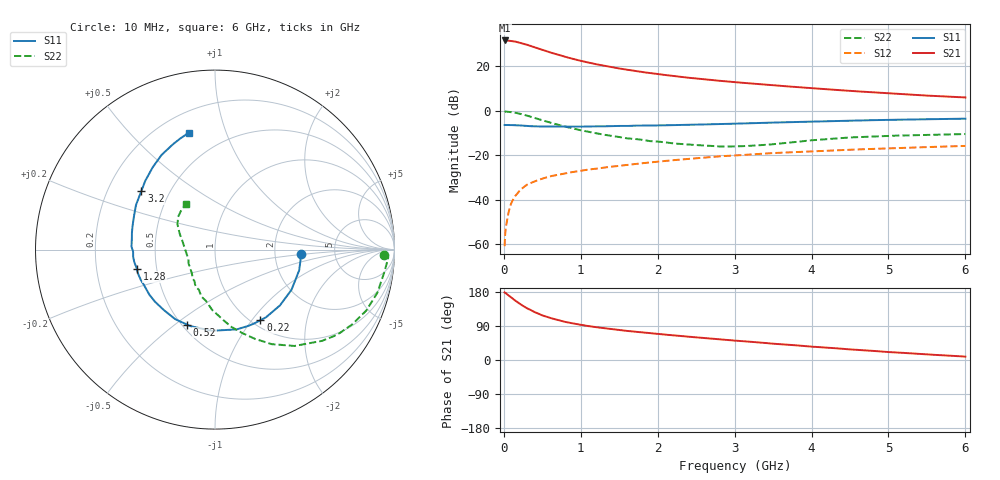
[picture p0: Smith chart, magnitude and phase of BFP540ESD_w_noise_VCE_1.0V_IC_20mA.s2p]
! Infineon Technologies  Discrete & RF Semiconductors
! BFP540ESD
! VCE =  1.0 V,  IC =  20 mA
! Common Emitter S-Parameters:  Nov 2015
# GHz  S  MA  R  50
!  f  S11  S21  S12  S22
! GHz  MAG  ANG  MAG  ANG  MAG  ANG  MAG  ANG
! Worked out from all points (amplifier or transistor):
!   210 points, 10 MHz to 6 GHz, reference 50 ohm
!   highest |S21| = 31.7 dB at 10 MHz (marker M1)
!   |S21| within 3 dB of that: start of sweep to 392.4 MHz
!   unconditionally stable (mu >= 1): start of sweep to 11.34 MHz; 2.088 GHz to end of sweep
!   at 185 MHz: K = 0.21, MSG = 33.8 dB, |S12| = -36.8 dB
!   at 1.52 GHz: K = 0.90, MSG = 21.8 dB, |S12| = -24.6 dB
!   at 6 GHz: K = 1.12, MAG = 8.8 dB, |S12| = -15.8 dB
!   lowest NFmin = 1.17 dB at 900 MHz
!   S11 on the Smith chart (normalised r, x): 10 MHz: 2.84, -0.17; 220 MHz: 1.10, -1.10; 520 MHz: 0.53, -0.55; 1.28 GHz: 0.39, -0.10; 3.2 GHz: 0.35, +0.31; 6 GHz: 0.32, +0.75
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0.01  0.4807 -2.7  38.46 178.3  0.0009 104.3  0.9394 -1.7
0.02  0.4803 -6.2  38.04 177.1  0.0019 83.1  0.9663 -2.6
0.05  0.483 -13.9  38.22 172.0  0.0041 89.2  0.953 -7.2
0.1  0.4814 -27.8  37.5 164.1  0.0087 81.1  0.9364 -14.8
0.15  0.4771 -40.7  36.28 156.4  0.0122 76.9  0.9088 -21.9
0.2  0.4722 -52.9  34.6 149.2  0.0155 72.5  0.8701 -28.7
0.22  0.4678 -57.3  33.8 146.6  0.0168 71.2  0.8526 -31.1
0.3  0.4609 -74.7  30.82 136.6  0.0217 66.9  0.7832 -40.5
0.4  0.4528 -92.5  26.97 126.3  0.0258 62.1  0.6959 -50.5
0.52  0.446 -110.3  23.08 116.5  0.0306 58.5  0.6004 -60.2
0.6  0.4464 -119.8  20.75 111.0  0.0336 56.8  0.5458 -65.8
0.74  0.4405 -133.3  17.6 103.5  0.0374 55.4  0.4691 -74.2
0.9  0.4437 -145.6  14.75 96.4  0.042 54.0  0.4007 -82.6
1.02  0.4421 -153.3  13.13 92.2  0.0454 53.4  0.36 -88.3
1.28  0.4486 -166.1  10.56 84.6  0.0523 52.5  0.2952 -99.0
1.6  0.4563 -178.4  8.443 76.8  0.0609 51.8  0.2409 -111.9
2.02  0.4722 168.7  6.658 68.3  0.0724 49.5  0.2026 -127.5
3.1  0.5195 143.5  4.291 49.8  0.1016 41.4  0.1606 -172.9
3.2  0.525 141.4  4.154 48.2  0.1042 40.4  0.1634 -177.3
4.1  0.5804 125.5  3.151 34.0  0.1248 32.2  0.2241 153.2
5.1  0.6317 111.8  2.431 19.9  0.145 23.2  0.2772 136.8
6  0.6674 102.7  2.005 8.9  0.1625 16.2  0.3007 122.9
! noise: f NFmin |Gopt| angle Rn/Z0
0.9  1.17  0.28  -137  0.11
1.8  1.32  0.31  -144  0.11
2.4  1.35  0.32  -135  0.12
3  1.45  0.35  -130  0.13
4  1.53  0.47  -104  0.22
5  1.66  0.56  -87  0.31
6  1.97  0.55  -87  0.57
